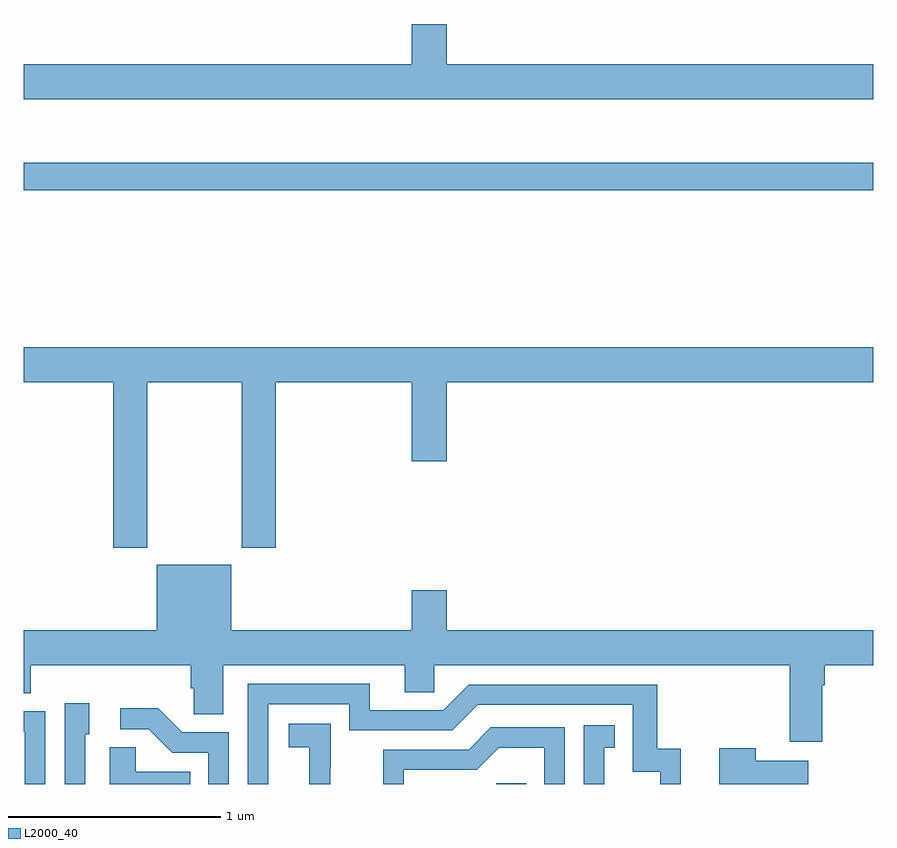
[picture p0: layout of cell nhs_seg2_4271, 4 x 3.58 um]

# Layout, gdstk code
import gdstk
lib = gdstk.Library(unit=1e-6, precision=1e-09)
def R(c, l, rs):  # rectangles x0, y0, x1, y1
    for r in rs: c.add(gdstk.rectangle(r[:2], r[2:], *l))
def P(c, l, *ps):  # polygons
    for p in ps: c.add(gdstk.Polygon(p, *l))
L2000_40 = (2000, 40)

nhs_seg2_4271 = lib.new_cell('nhs_seg2_4271')
R(nhs_seg2_4271, L2000_40, [(345.225,589.8,345.365,589.803), (343,592.594,347,592.723)])
P(nhs_seg2_4271, L2000_40, [(347,593.188),(344.992,593.188),(344.992,593.377),(344.828,593.377),(344.828,593.188),(343,593.188),(343,593.024),(347,593.024)],
  [(343.581,591.692),(344.026,591.692),(344.026,590.913),(344.186,590.913),(344.186,591.692),(344.828,591.692),(344.828,591.318),(344.992,591.318),(344.992,591.692),(347,591.692),(347,591.856),(343,591.856),(343,591.692),(343.421,591.692),(343.421,590.913),(343.581,590.913)],
  [(346.759,590.264),(346.772,590.264),(346.772,590.36),(347,590.36),(347,590.524),(344.992,590.524),(344.992,590.713),(344.828,590.713),(344.828,590.524),(343.978,590.524),(343.978,590.833),(343.628,590.833),(343.628,590.524),(343,590.524),(343,590.227),(343.034,590.227),(343.034,590.36),(343.787,590.36),(343.787,590.251),(343.8,590.251),(343.8,590.128),(343.939,590.128),(343.939,590.36),(344.795,590.36),(344.795,590.233),(344.934,590.233),(344.934,590.36),(346.607,590.36),(346.607,589.998),(346.759,589.998)],
  [(344.151,590.175),(344.532,590.175),(344.532,590.052),(345.018,590.052),(345.138,590.172),(345.867,590.172),(345.867,589.857),(345.996,589.857),(345.996,589.8),(346.094,589.8),(346.094,589.966),(345.983,589.966),(345.983,590.268),(345.096,590.268),(344.976,590.148),(344.629,590.148),(344.629,590.271),(344.055,590.271),(344.055,589.8),(344.151,589.8)],
  [(343.29,590.034),(343.309,590.034),(343.309,590.179),(343.194,590.179),(343.194,589.8),(343.29,589.8)],
  [(343.965,590.043),(343.746,590.043),(343.633,590.156),(343.455,590.156),(343.455,590.058),(343.589,590.058),(343.7,589.947),(343.869,589.947),(343.869,589.8),(343.965,589.8)],
  [(343.101,590.142),(343,590.142),(343,590.046),(343.005,590.046),(343.005,589.8),(343.101,589.8)],
  [(344.444,589.877),(344.445,589.877),(344.445,590.083),(344.247,590.083),(344.247,589.973),(344.345,589.973),(344.345,589.8),(344.444,589.8)],
  [(345.733,589.971),(345.782,589.971),(345.782,590.077),(345.636,590.077),(345.636,589.8),(345.733,589.8)],
  [(344.79,589.866),(345.132,589.866),(345.236,589.97),(345.45,589.97),(345.45,589.8),(345.546,589.8),(345.546,590.067),(345.2,590.067),(345.095,589.962),(344.692,589.962),(344.692,589.8),(344.79,589.8)],
  [(343.784,589.858),(343.527,589.858),(343.527,589.973),(343.406,589.973),(343.406,589.8),(343.784,589.8)],
  [(346.693,589.909),(346.445,589.909),(346.445,589.969),(346.274,589.969),(346.274,589.8),(346.693,589.8)])

lib.write_gds('nhs_seg2_4271.gds')
